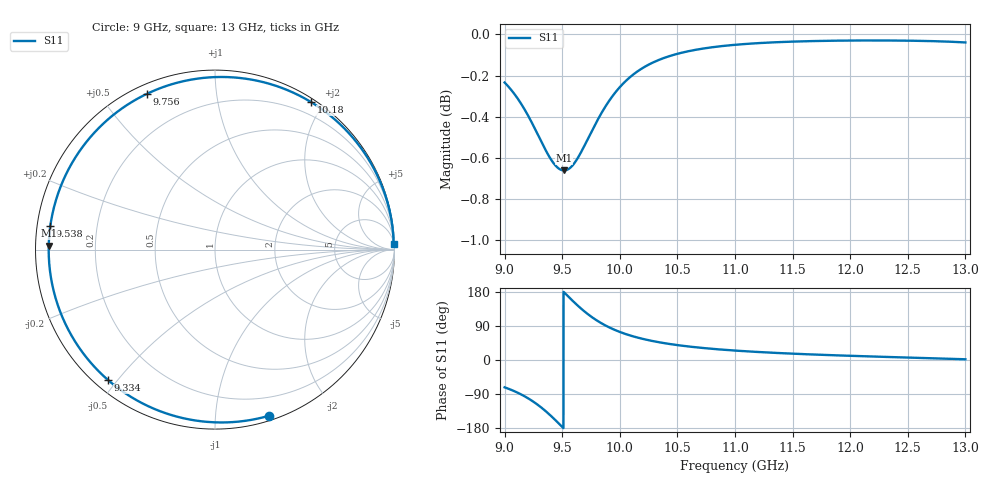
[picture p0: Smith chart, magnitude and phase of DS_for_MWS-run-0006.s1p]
! TOUCHSTONE file generated by CST DESIGN STUDIO
! Date and time: Tue Feb  4 12:45:47 2025
! Project name: C:\Work\MatlabApps\UnitCellOptimizationMatlab\CST\unitcell.cst
! Tree item: Tasks\Sweep1\SPara1\S-Parameters
! Header version: 2024
! Port assignment regex: !\s*Touchstone port\s*([0-9]+)\s*=\s*(CST MWS port|CST DES external port|CST DES block port)\s*(.+)\s* \(\"(.*)\"\)(\s*mode\s*([0-9]+))?.*
! Touchstone port assignment:
! Touchstone port 1 = CST DES external port 1 ("")
# GHz S MA R 50
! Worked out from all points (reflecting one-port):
!   4001 points, 9 GHz to 13 GHz, reference 50 ohm
!   lowest |S11| = -0.7 dB at 9.516 GHz (marker M1), VSWR 26.27, Z = 1.9 + j0.594 ohm
!   phase of S11 starts at -72 deg and turns -286 deg over the sweep
!   S11 on the Smith chart (normalised r, x): 9 GHz: 0.04, -1.37; 9.334 GHz: 0.04, -0.47; 9.538 GHz: 0.04, +0.07; 9.756 GHz: 0.04, +0.66; 10.18 GHz: 0.04, +1.84; 13 GHz: 8, +58
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9  0.9734 -72.1
9.091  0.9667 -83.2
9.195  0.9565 -99.5
9.268  0.948 -113.9
9.334  0.9399 -129.2
9.379  0.9347 -141.0
9.425  0.9304 -154.0
9.463  0.928 -165.2
9.5  0.9268 -176.5
9.516  0.9267 178.6
9.538  0.9269 171.9
9.592  0.9294 155.8
9.652  0.9349 138.8
9.703  0.9408 125.7
9.756  0.9472 113.5
9.806  0.9531 103.3
9.861  0.959 93.5
10  0.9709 74.1
10.087  0.9763 65.0
10.182  0.9807 57.0
10.327  0.9855 47.6
10.5  0.9892 39.3
10.721  0.9921 31.7
11  0.9942 24.9
11.5  0.996 16.7
12  0.9966 11.1
12.5  0.9965 6.5
13  0.9955 1.9
